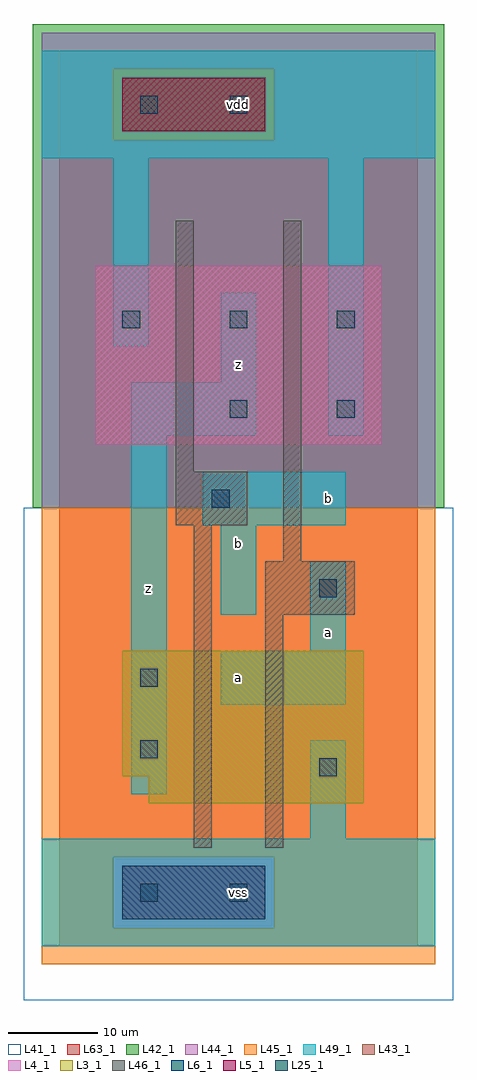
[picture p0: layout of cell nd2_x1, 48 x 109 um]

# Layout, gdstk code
import gdstk
lib = gdstk.Library(unit=1e-6, precision=1e-09)
def R(c, l, rs):  # rectangles x0, y0, x1, y1
    for r in rs: c.add(gdstk.rectangle(r[:2], r[2:], *l))
def A(c, l, x, y, w, h, nx, ny, dx, dy):  # array of equal rectangles
    R(c, l, [(x+i*dx, y+j*dy, x+i*dx+w, y+j*dy+h) for i in range(nx) for j in range(ny)])
L3_1 = (3, 1)
L4_1 = (4, 1)
L5_1 = (5, 1)
L6_1 = (6, 1)
L25_1 = (25, 1)
L41_1 = (41, 1)
L42_1 = (42, 1)
L43_1 = (43, 1)
L44_1 = (44, 1)
L45_1 = (45, 1)
L46_1 = (46, 1)
L49_1 = (49, 1)
L63_1 = (63, 1)

nd2_x1 = lib.new_cell('nd2_x1')
R(nd2_x1, L3_1, [(10,16,34,19), (7,19,34,33)])
R(nd2_x1, L4_1, [(4,56,36,76)])
R(nd2_x1, L5_1, [(7,91,23,97)])
R(nd2_x1, L6_1, [(7,3,23,9)])
A(nd2_x1, L25_1, 7, 69, 2, 2, 3, 1, 12, 0)
R(nd2_x1, L25_1, [(9,5,11,7), (19,5,21,7), (29,19,31,21), (9,21,11,23), (9,29,11,31), (29,39,31,41), (17,49,19,51), (19,59,21,61), (31,59,33,61), (9,93,11,95), (19,93,21,95)])
R(nd2_x1, L41_1, [(-4,-6,44,49), (-3,-3,43,49)])
R(nd2_x1, L42_1, [(-3,49,43,103)])
R(nd2_x1, L43_1, [(7,3,23,9), (10,16,34,19), (7,19,34,33), (4,56,36,76), (7,91,23,97)])
R(nd2_x1, L44_1, [(6,2,24,10), (-2,49,42,90), (-2,90,6,98), (24,90,42,98), (-2,98,42,102)])
R(nd2_x1, L45_1, [(-2,-2,42,2), (-2,2,6,10), (24,2,42,10), (-2,10,42,49), (6,90,24,98)])
R(nd2_x1, L46_1, [(15,11,17,47), (23,11,25,37), (23,37,33,43), (25,43,27,81), (13,47,21,53), (13,53,15,81)])
R(nd2_x1, L49_1, [(-2,0,42,12), (28,12,32,23), (8,17,12,57), (18,27,32,33), (28,33,32,43), (18,37,22,47), (16,47,32,53), (8,57,22,63), (30,57,34,88), (18,63,22,73), (6,67,10,88), (-2,88,42,100)])
R(nd2_x1, L63_1, [(0,0,40,100)])
nd2_x1.add(gdstk.Label('z', (10,40), layer=49, texttype=1))
nd2_x1.add(gdstk.Label('z', (10,40), layer=49, texttype=1))
nd2_x1.add(gdstk.Label('vss', (20,6), layer=49, texttype=1))
nd2_x1.add(gdstk.Label('vss', (20,6), layer=49, texttype=1))
nd2_x1.add(gdstk.Label('a', (20,30), layer=49, texttype=1))
nd2_x1.add(gdstk.Label('b', (20,45), layer=49, texttype=1))
nd2_x1.add(gdstk.Label('a', (20,30), layer=49, texttype=1))
nd2_x1.add(gdstk.Label('b', (20,45), layer=49, texttype=1))
nd2_x1.add(gdstk.Label('z', (20,65), layer=49, texttype=1))
nd2_x1.add(gdstk.Label('z', (20,65), layer=49, texttype=1))
nd2_x1.add(gdstk.Label('vdd', (20,94), layer=49, texttype=1))
nd2_x1.add(gdstk.Label('vdd', (20,94), layer=49, texttype=1))
nd2_x1.add(gdstk.Label('a', (30,35), layer=49, texttype=1))
nd2_x1.add(gdstk.Label('a', (30,35), layer=49, texttype=1))
nd2_x1.add(gdstk.Label('b', (30,50), layer=49, texttype=1))
nd2_x1.add(gdstk.Label('b', (30,50), layer=49, texttype=1))

lib.write_gds('nd2_x1.gds')
